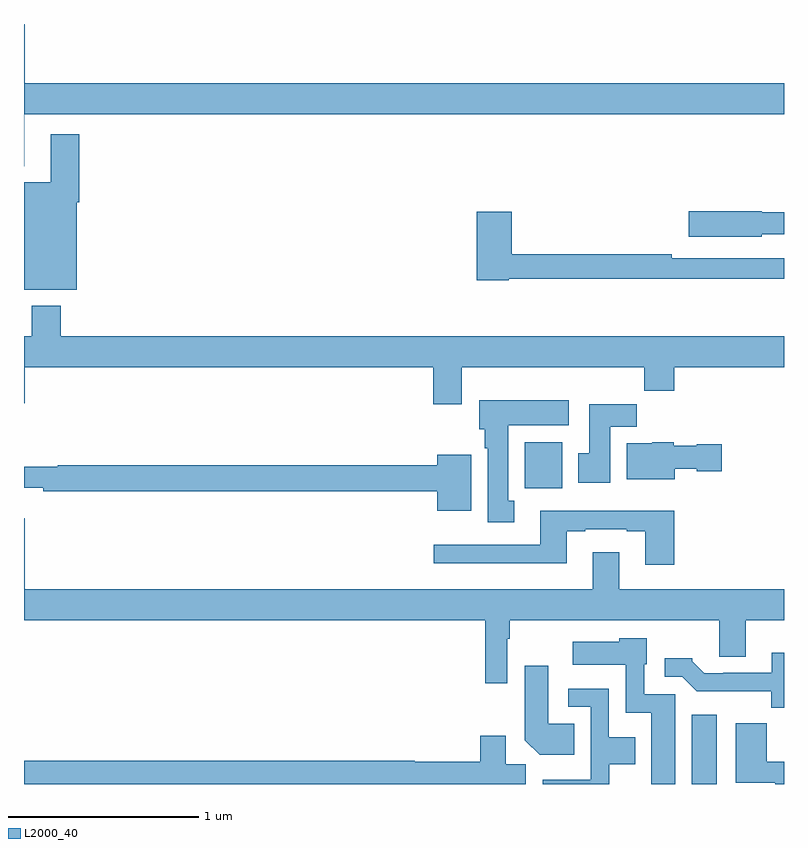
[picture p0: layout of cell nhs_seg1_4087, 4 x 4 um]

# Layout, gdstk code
import gdstk
lib = gdstk.Library(unit=1e-6, precision=1e-09)
def R(c, l, rs):  # rectangles x0, y0, x1, y1
    for r in rs: c.add(gdstk.rectangle(r[:2], r[2:], *l))
def P(c, l, *ps):  # polygons
    for p in ps: c.add(gdstk.Polygon(p, *l))
L2000_40 = (2000, 40)

nhs_seg1_4087 = lib.new_cell('nhs_seg1_4087')
R(nhs_seg1_4087, L2000_40, [(336.515,556.199,336.646,556.564), (335.636,557.756,335.833,557.998)])
P(nhs_seg1_4087, L2000_40, [(333.001,559.724),(337,559.724),(337,559.888),(333.004,559.888),(333.004,560.199),(333,560.199),(333,559.451),(333.001,559.451)],
  [(333.277,559.262),(333.29,559.262),(333.29,559.618),(333.14,559.618),(333.14,559.366),(333,559.366),(333,558.8),(333.277,558.8)],
  [(336.882,559.092),(337,559.092),(337,559.208),(336.882,559.208),(336.882,559.214),(336.498,559.214),(336.498,559.079),(336.882,559.079)],
  [(335.55,558.858),(337,558.858),(337,558.966),(336.41,558.966),(336.41,558.986),(335.567,558.986),(335.567,559.21),(335.384,559.21),(335.384,558.85),(335.55,558.85)],
  [(335.305,558.392),(336.265,558.392),(336.265,558.268),(336.422,558.268),(336.422,558.392),(337,558.392),(337,558.556),(333.194,558.556),(333.194,558.715),(333.041,558.715),(333.041,558.556),(333,558.556),(333,558.204),(333.004,558.204),(333.004,558.392),(335.153,558.392),(335.153,558.198),(335.305,558.198)],
  [(335.581,557.69),(335.548,557.69),(335.548,558.086),(335.866,558.086),(335.866,558.22),(335.396,558.22),(335.396,558.066),(335.426,558.066),(335.426,557.966),(335.441,557.966),(335.441,557.577),(335.581,557.577)],
  [(336.085,558.08),(336.224,558.08),(336.224,558.199),(335.975,558.199),(335.975,557.94),(335.918,557.94),(335.918,557.784),(336.085,557.784)],
  [(336.424,557.858),(336.54,557.858),(336.54,557.846),(336.673,557.846),(336.673,557.988),(336.54,557.988),(336.54,557.98),(336.42,557.98),(336.42,557.998),(336.306,557.998),(336.306,557.992),(336.173,557.992),(336.173,557.804),(336.424,557.804)],
  [(335.353,557.932),(335.174,557.932),(335.174,557.876),(333.178,557.876),(333.178,557.869),(333,557.869),(333,557.759),(333.1,557.759),(333.1,557.74),(335.174,557.74),(335.174,557.636),(335.353,557.636)],
  [(336.422,557.638),(335.717,557.638),(335.717,557.457),(335.157,557.457),(335.157,557.36),(335.857,557.36),(335.857,557.529),(335.953,557.529),(335.953,557.541),(336.173,557.541),(336.173,557.529),(336.269,557.529),(336.269,557.352),(336.422,557.352)],
  [(335.544,556.964),(335.557,556.964),(335.557,557.06),(336.659,557.06),(336.659,556.87),(336.799,556.87),(336.799,557.06),(337,557.06),(337,557.224),(336.133,557.224),(336.133,557.419),(335.993,557.419),(335.993,557.224),(333.004,557.224),(333.004,557.599),(333,557.599),(333,557.06),(335.428,557.06),(335.428,556.728),(335.544,556.728)],
  [(336.427,556.671),(336.264,556.671),(336.264,556.83),(336.277,556.83),(336.277,556.966),(336.132,556.966),(336.132,556.948),(335.889,556.948),(335.889,556.826),(336.168,556.826),(336.168,556.574),(336.302,556.574),(336.302,556.199),(336.427,556.199)],
  [(337,556.891),(336.935,556.891),(336.935,556.785),(336.679,556.785),(336.679,556.782),(336.58,556.782),(336.516,556.846),(336.516,556.861),(336.372,556.861),(336.372,556.764),(336.465,556.764),(336.541,556.688),(336.933,556.688),(336.933,556.601),(337,556.601)],
  [(335.897,556.516),(335.758,556.516),(335.758,556.822),(335.636,556.822),(335.636,556.43),(335.714,556.352),(335.897,556.352)],
  [(336.081,556.304),(336.217,556.304),(336.217,556.444),(336.078,556.444),(336.078,556.701),(335.865,556.701),(335.865,556.605),(335.982,556.605),(335.982,556.222),(335.729,556.222),(335.729,556.199),(336.081,556.199)],
  [(337,556.315),(336.908,556.315),(336.908,556.519),(336.746,556.519),(336.746,556.205),(336.954,556.205),(336.954,556.199),(337,556.199)],
  [(335.641,556.304),(335.536,556.304),(335.536,556.453),(335.402,556.453),(335.402,556.316),(335.056,556.316),(335.056,556.322),(333,556.322),(333,556.199),(335.641,556.199)])

lib.write_gds('nhs_seg1_4087.gds')
